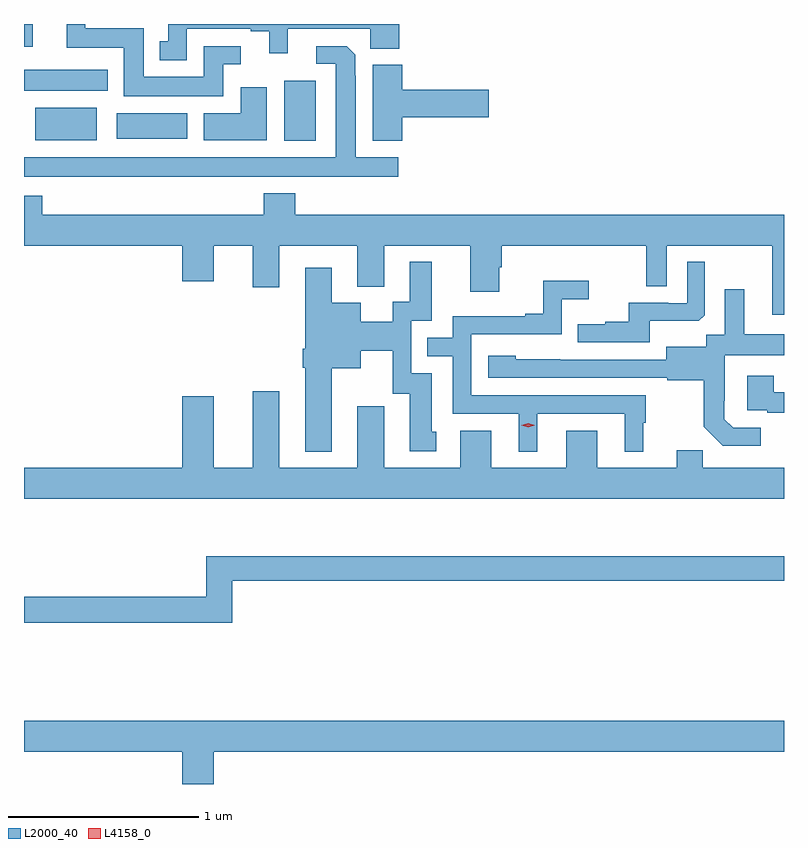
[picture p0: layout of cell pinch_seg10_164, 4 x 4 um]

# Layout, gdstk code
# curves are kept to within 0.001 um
import gdstk
lib = gdstk.Library(unit=1e-6, precision=1e-09)
def R(c, l, rs):  # rectangles x0, y0, x1, y1
    for r in rs: c.add(gdstk.rectangle(r[:2], r[2:], *l))
def P(c, l, *ps):  # polygons
    for p in ps: c.add(gdstk.Polygon(p, *l))
L2000_40 = (2000, 40)
L4158_0 = (4158, 0)

pinch_seg10_164 = lib.new_cell('pinch_seg10_164')
R(pinch_seg10_164, L2000_40, [(645.065,1256.912,645.229,1257.229), (643.754,1256.915,644.077,1257.085), (644.181,1256.924,644.554,1257.058), (643.694,1257.176,644.134,1257.286), (643.694,1257.408,643.739,1257.527)])
P(pinch_seg10_164, L2000_40, [(644.743,1257.315),(644.836,1257.315),(644.836,1257.411),(644.639,1257.411),(644.639,1257.25),(644.323,1257.25),(644.323,1257.505),(644.017,1257.505),(644.017,1257.527),(643.919,1257.527),(643.919,1257.401),(644.219,1257.401),(644.219,1257.146),(644.743,1257.146)],
  [(644.55,1257.501),(644.888,1257.501),(644.888,1257.489),(644.984,1257.489),(644.984,1257.372),(645.082,1257.372),(645.082,1257.501),(645.516,1257.501),(645.516,1257.398),(645.668,1257.398),(645.668,1257.527),(644.454,1257.527),(644.454,1257.435),(644.408,1257.435),(644.408,1257.335),(644.55,1257.335)],
  [(645.664,1256.827),(645.439,1256.827),(645.438,1257.365),(645.392,1257.411),(645.231,1257.411),(645.231,1257.318),(645.335,1257.318),(645.335,1256.827),(643.694,1256.827),(643.694,1256.723),(645.664,1256.723)],
  [(645.686,1257.035),(646.141,1257.035),(646.141,1257.182),(645.686,1257.182),(645.686,1257.313),(645.53,1257.313),(645.53,1256.912),(645.686,1256.912)],
  [(644.971,1257.193),(644.834,1257.193),(644.834,1257.058),(644.639,1257.058),(644.639,1256.915),(644.971,1256.915)],
  [(647.694,1256.524),(645.122,1256.524),(645.122,1256.635),(644.957,1256.635),(644.957,1256.524),(643.79,1256.524),(643.79,1256.623),(643.694,1256.623),(643.694,1256.36),(644.528,1256.36),(644.528,1256.172),(644.692,1256.172),(644.692,1256.36),(644.897,1256.36),(644.897,1256.142),(645.037,1256.142),(645.037,1256.36),(645.449,1256.36),(645.449,1256.144),(645.589,1256.144),(645.589,1256.36),(646.043,1256.36),(646.043,1256.118),(646.195,1256.118),(646.195,1256.247),(646.208,1256.247),(646.208,1256.36),(646.968,1256.36),(646.968,1256.146),(647.076,1256.146),(647.076,1256.36),(647.633,1256.36),(647.633,1255.998),(647.694,1255.998)],
  [(646.987,1255.964),(647.245,1255.964),(647.277,1255.995),(647.277,1256.275),(647.184,1256.275),(647.184,1256.058),(647.084,1256.058),(647.084,1256.061),(646.877,1256.061),(646.877,1255.96),(646.753,1255.96),(646.753,1255.948),(646.609,1255.948),(646.609,1255.851),(646.987,1255.851)],
  [(645.313,1255.715),(645.466,1255.715),(645.466,1255.808),(645.636,1255.808),(645.636,1255.581),(645.725,1255.581),(645.725,1255.278),(645.865,1255.278),(645.865,1255.38),(645.841,1255.38),(645.841,1255.689),(645.732,1255.689),(645.732,1255.965),(645.841,1255.965),(645.841,1256.275),(645.725,1256.275),(645.725,1256.066),(645.635,1256.066),(645.635,1255.96),(645.466,1255.96),(645.466,1256.059),(645.313,1256.059),(645.313,1256.245),(645.173,1256.245),(645.173,1255.819),(645.161,1255.819),(645.161,1255.719),(645.173,1255.719),(645.173,1255.277),(645.313,1255.277)],
  [(646.396,1255.476),(646.856,1255.476),(646.856,1255.277),(646.954,1255.277),(646.954,1255.428),(646.966,1255.428),(646.966,1255.572),(646.047,1255.572),(646.047,1255.893),(646.524,1255.893),(646.524,1256.078),(646.666,1256.078),(646.666,1256.177),(646.426,1256.177),(646.426,1256.002),(646.331,1256.002),(646.331,1255.989),(645.951,1255.989),(645.951,1255.875),(645.817,1255.875),(645.817,1255.779),(645.951,1255.779),(645.951,1255.476),(646.298,1255.476),(646.298,1255.277),(646.396,1255.277)],
  [(647.572,1255.401),(647.427,1255.401),(647.38,1255.448),(647.38,1255.543),(647.382,1255.543),(647.382,1255.784),(647.694,1255.784),(647.694,1255.894),(647.485,1255.894),(647.485,1256.131),(647.381,1256.131),(647.381,1255.892),(647.286,1255.892),(647.286,1255.828),(647.075,1255.828),(647.075,1255.761),(646.281,1255.762),(646.281,1255.78),(646.137,1255.78),(646.137,1255.665),(647.079,1255.665),(647.079,1255.653),(647.271,1255.653),(647.271,1255.407),(647.371,1255.307),(647.572,1255.307)],
  [(647.694,1255.59),(647.641,1255.59),(647.641,1255.675),(647.501,1255.675),(647.501,1255.494),(647.605,1255.494),(647.605,1255.482),(647.694,1255.482)],
  [(647.694,1255.192),(647.267,1255.192),(647.267,1255.283),(647.129,1255.283),(647.129,1255.192),(646.711,1255.192),(646.711,1255.387),(646.547,1255.387),(646.547,1255.192),(646.153,1255.192),(646.153,1255.387),(645.989,1255.387),(645.989,1255.192),(645.589,1255.192),(645.589,1255.516),(645.449,1255.516),(645.449,1255.192),(645.037,1255.192),(645.037,1255.594),(644.897,1255.594),(644.897,1255.192),(644.692,1255.192),(644.692,1255.567),(644.528,1255.567),(644.528,1255.192),(643.694,1255.192),(643.694,1255.028),(647.694,1255.028)],
  [(644.789,1254.598),(647.694,1254.598),(647.694,1254.727),(644.653,1254.727),(644.653,1254.512),(643.694,1254.512),(643.694,1254.376),(644.789,1254.376)],
  [(644.692,1253.696),(647.694,1253.696),(647.694,1253.86),(643.694,1253.86),(643.694,1253.696),(644.528,1253.696),(644.528,1253.527),(644.692,1253.527)])
P(pinch_seg10_164, L4158_0, [(646.347,1255.405),(646.311,1255.415),(646.311,1255.415),(646.311,1255.415),(646.347,1255.425),(646.383,1255.415),(646.383,1255.415),(646.383,1255.415)])

lib.write_gds('pinch_seg10_164.gds')
